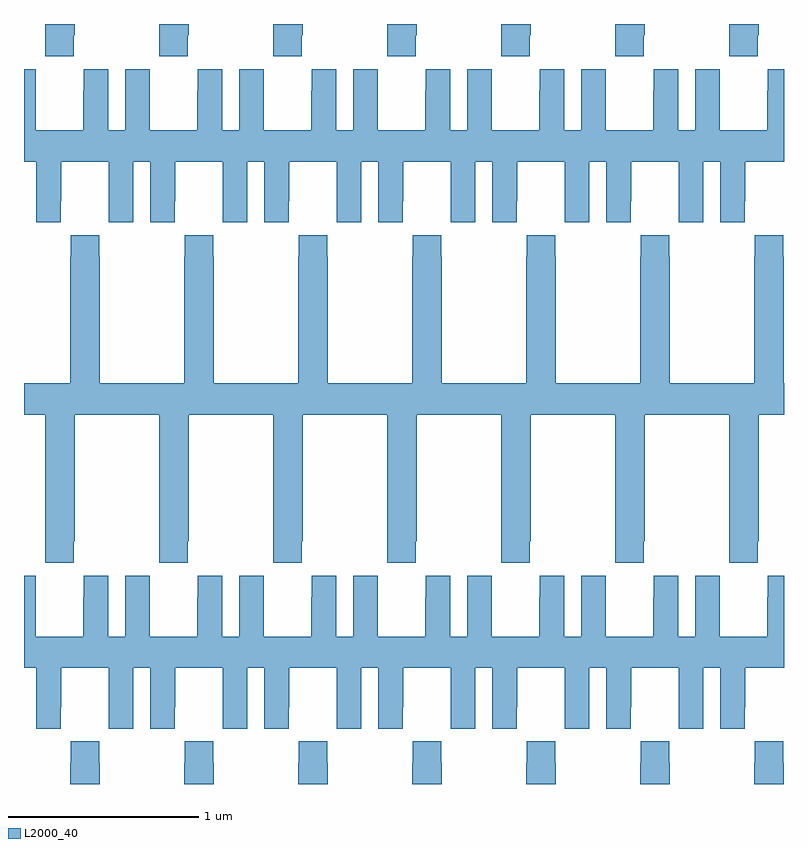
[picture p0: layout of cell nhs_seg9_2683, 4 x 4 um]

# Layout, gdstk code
import gdstk
lib = gdstk.Library(unit=1e-6, precision=1e-09)
def P(c, l, *ps):  # polygons
    for p in ps: c.add(gdstk.Polygon(p, *l))
L2000_40 = (2000, 40)

nhs_seg9_2683 = lib.new_cell('nhs_seg9_2683')
P(nhs_seg9_2683, L2000_40, [(265.863,1174.441),(265.866,1174.441),(265.866,1174.5),(265.711,1174.5),(265.711,1174.441),(265.713,1174.441),(265.713,1174.329),(265.863,1174.329)],
  [(266.463,1174.441),(266.466,1174.441),(266.466,1174.5),(266.311,1174.5),(266.311,1174.441),(266.313,1174.441),(266.313,1174.329),(266.463,1174.329)],
  [(267.063,1174.441),(267.066,1174.441),(267.066,1174.5),(266.911,1174.5),(266.911,1174.441),(266.913,1174.441),(266.913,1174.329),(267.063,1174.329)],
  [(267.663,1174.441),(267.666,1174.441),(267.666,1174.5),(267.511,1174.5),(267.511,1174.441),(267.513,1174.441),(267.513,1174.329),(267.663,1174.329)],
  [(268.263,1174.441),(268.266,1174.441),(268.266,1174.5),(268.111,1174.5),(268.111,1174.441),(268.113,1174.441),(268.113,1174.329),(268.263,1174.329)],
  [(268.711,1174.441),(268.713,1174.441),(268.713,1174.329),(268.863,1174.329),(268.863,1174.441),(268.866,1174.441),(268.866,1174.5),(268.711,1174.5)],
  [(265.263,1174.441),(265.266,1174.441),(265.266,1174.5),(265.111,1174.5),(265.111,1174.441),(265.113,1174.441),(265.113,1174.329),(265.263,1174.329)],
  [(265.663,1174.148),(265.662,1174.148),(265.662,1174.261),(265.532,1174.261),(265.532,1173.94),(265.444,1173.94),(265.444,1174.261),(265.314,1174.261),(265.314,1174.148),(265.313,1174.148),(265.313,1173.94),(265.063,1173.94),(265.063,1174.148),(265.062,1174.148),(265.062,1174.261),(265,1174.261),(265,1173.776),(265.064,1173.776),(265.064,1173.456),(265.194,1173.456),(265.194,1173.568),(265.195,1173.568),(265.195,1173.776),(265.445,1173.776),(265.445,1173.568),(265.446,1173.568),(265.446,1173.456),(265.576,1173.456),(265.576,1173.776),(265.664,1173.776),(265.664,1173.456),(265.794,1173.456),(265.794,1173.568),(265.795,1173.568),(265.795,1173.776),(266.045,1173.776),(266.045,1173.568),(266.046,1173.568),(266.046,1173.456),(266.176,1173.456),(266.176,1173.776),(266.264,1173.776),(266.264,1173.456),(266.394,1173.456),(266.394,1173.568),(266.395,1173.568),(266.395,1173.776),(266.645,1173.776),(266.645,1173.568),(266.646,1173.568),(266.646,1173.456),(266.776,1173.456),(266.776,1173.776),(266.864,1173.776),(266.864,1173.456),(266.994,1173.456),(266.994,1173.568),(266.995,1173.568),(266.995,1173.776),(267.245,1173.776),(267.245,1173.568),(267.246,1173.568),(267.246,1173.456),(267.376,1173.456),(267.376,1173.776),(267.464,1173.776),(267.464,1173.456),(267.594,1173.456),(267.594,1173.568),(267.595,1173.568),(267.595,1173.776),(267.845,1173.776),(267.845,1173.568),(267.846,1173.568),(267.846,1173.456),(267.976,1173.456),(267.976,1173.776),(268.064,1173.776),(268.064,1173.456),(268.194,1173.456),(268.194,1173.568),(268.195,1173.568),(268.195,1173.776),(268.445,1173.776),(268.445,1173.568),(268.446,1173.568),(268.446,1173.456),(268.576,1173.456),(268.576,1173.776),(268.664,1173.776),(268.664,1173.456),(268.794,1173.456),(268.794,1173.568),(268.795,1173.568),(268.795,1173.776),(269,1173.776),(269,1174.261),(268.914,1174.261),(268.914,1174.148),(268.913,1174.148),(268.913,1173.94),(268.663,1173.94),(268.663,1174.148),(268.662,1174.148),(268.662,1174.261),(268.532,1174.261),(268.532,1173.94),(268.444,1173.94),(268.444,1174.261),(268.314,1174.261),(268.314,1174.148),(268.313,1174.148),(268.313,1173.94),(268.063,1173.94),(268.063,1174.148),(268.062,1174.148),(268.062,1174.261),(267.932,1174.261),(267.932,1173.94),(267.844,1173.94),(267.844,1174.261),(267.714,1174.261),(267.714,1174.148),(267.713,1174.148),(267.713,1173.94),(267.463,1173.94),(267.463,1174.148),(267.462,1174.148),(267.462,1174.261),(267.332,1174.261),(267.332,1173.94),(267.244,1173.94),(267.244,1174.261),(267.114,1174.261),(267.114,1174.148),(267.113,1174.148),(267.113,1173.94),(266.863,1173.94),(266.863,1174.148),(266.862,1174.148),(266.862,1174.261),(266.732,1174.261),(266.732,1173.94),(266.644,1173.94),(266.644,1174.261),(266.514,1174.261),(266.514,1174.148),(266.513,1174.148),(266.513,1173.94),(266.263,1173.94),(266.263,1174.148),(266.262,1174.148),(266.262,1174.261),(266.132,1174.261),(266.132,1173.94),(266.044,1173.94),(266.044,1174.261),(265.914,1174.261),(265.914,1174.148),(265.913,1174.148),(265.913,1173.94),(265.663,1173.94)],
  [(265.845,1173.275),(265.843,1173.275),(265.843,1172.608),(265.398,1172.608),(265.398,1173.275),(265.395,1173.275),(265.395,1173.388),(265.245,1173.388),(265.245,1173.275),(265.243,1173.275),(265.243,1172.608),(265,1172.608),(265,1172.444),(265.111,1172.444),(265.111,1171.777),(265.113,1171.777),(265.113,1171.665),(265.263,1171.665),(265.263,1171.777),(265.266,1171.777),(265.266,1172.444),(265.711,1172.444),(265.711,1171.777),(265.713,1171.777),(265.713,1171.665),(265.863,1171.665),(265.863,1171.777),(265.866,1171.777),(265.866,1172.444),(266.311,1172.444),(266.311,1171.777),(266.313,1171.777),(266.313,1171.665),(266.463,1171.665),(266.463,1171.777),(266.466,1171.777),(266.466,1172.444),(266.911,1172.444),(266.911,1171.777),(266.913,1171.777),(266.913,1171.665),(267.063,1171.665),(267.063,1171.777),(267.066,1171.777),(267.066,1172.444),(267.511,1172.444),(267.511,1171.777),(267.513,1171.777),(267.513,1171.665),(267.663,1171.665),(267.663,1171.777),(267.666,1171.777),(267.666,1172.444),(268.111,1172.444),(268.111,1171.777),(268.113,1171.777),(268.113,1171.665),(268.263,1171.665),(268.263,1171.777),(268.266,1171.777),(268.266,1172.444),(268.711,1172.444),(268.711,1171.777),(268.713,1171.777),(268.713,1171.665),(268.863,1171.665),(268.863,1171.777),(268.866,1171.777),(268.866,1172.444),(269,1172.444),(269,1172.608),(268.998,1172.608),(268.998,1173.275),(268.995,1173.275),(268.995,1173.388),(268.845,1173.388),(268.845,1173.275),(268.843,1173.275),(268.843,1172.608),(268.398,1172.608),(268.398,1173.275),(268.395,1173.275),(268.395,1173.388),(268.245,1173.388),(268.245,1173.275),(268.243,1173.275),(268.243,1172.608),(267.798,1172.608),(267.798,1173.275),(267.795,1173.275),(267.795,1173.388),(267.645,1173.388),(267.645,1173.275),(267.643,1173.275),(267.643,1172.608),(267.198,1172.608),(267.198,1173.275),(267.195,1173.275),(267.195,1173.388),(267.045,1173.388),(267.045,1173.275),(267.043,1173.275),(267.043,1172.608),(266.598,1172.608),(266.598,1173.275),(266.595,1173.275),(266.595,1173.388),(266.445,1173.388),(266.445,1173.275),(266.443,1173.275),(266.443,1172.608),(265.998,1172.608),(265.998,1173.275),(265.995,1173.275),(265.995,1173.388),(265.845,1173.388)],
  [(267.463,1171.484),(267.462,1171.484),(267.462,1171.597),(267.332,1171.597),(267.332,1171.276),(267.244,1171.276),(267.244,1171.597),(267.114,1171.597),(267.114,1171.484),(267.113,1171.484),(267.113,1171.276),(266.863,1171.276),(266.863,1171.484),(266.862,1171.484),(266.862,1171.597),(266.732,1171.597),(266.732,1171.276),(266.644,1171.276),(266.644,1171.597),(266.514,1171.597),(266.514,1171.484),(266.513,1171.484),(266.513,1171.276),(266.263,1171.276),(266.263,1171.484),(266.262,1171.484),(266.262,1171.597),(266.132,1171.597),(266.132,1171.276),(266.044,1171.276),(266.044,1171.597),(265.914,1171.597),(265.914,1171.484),(265.913,1171.484),(265.913,1171.276),(265.663,1171.276),(265.663,1171.484),(265.662,1171.484),(265.662,1171.597),(265.532,1171.597),(265.532,1171.276),(265.444,1171.276),(265.444,1171.597),(265.314,1171.597),(265.314,1171.484),(265.313,1171.484),(265.313,1171.276),(265.063,1171.276),(265.063,1171.484),(265.062,1171.484),(265.062,1171.597),(265,1171.597),(265,1171.112),(265.064,1171.112),(265.064,1170.792),(265.194,1170.792),(265.194,1170.904),(265.195,1170.904),(265.195,1171.112),(265.445,1171.112),(265.445,1170.904),(265.446,1170.904),(265.446,1170.792),(265.576,1170.792),(265.576,1171.112),(265.664,1171.112),(265.664,1170.792),(265.794,1170.792),(265.794,1170.904),(265.795,1170.904),(265.795,1171.112),(266.045,1171.112),(266.045,1170.904),(266.046,1170.904),(266.046,1170.792),(266.176,1170.792),(266.176,1171.112),(266.264,1171.112),(266.264,1170.792),(266.394,1170.792),(266.394,1170.904),(266.395,1170.904),(266.395,1171.112),(266.645,1171.112),(266.645,1170.904),(266.646,1170.904),(266.646,1170.792),(266.776,1170.792),(266.776,1171.112),(266.864,1171.112),(266.864,1170.792),(266.994,1170.792),(266.994,1170.904),(266.995,1170.904),(266.995,1171.112),(267.245,1171.112),(267.245,1170.904),(267.246,1170.904),(267.246,1170.792),(267.376,1170.792),(267.376,1171.112),(267.464,1171.112),(267.464,1170.792),(267.594,1170.792),(267.594,1170.904),(267.595,1170.904),(267.595,1171.112),(267.845,1171.112),(267.845,1170.904),(267.846,1170.904),(267.846,1170.792),(267.976,1170.792),(267.976,1171.112),(268.064,1171.112),(268.064,1170.792),(268.194,1170.792),(268.194,1170.904),(268.195,1170.904),(268.195,1171.112),(268.445,1171.112),(268.445,1170.904),(268.446,1170.904),(268.446,1170.792),(268.576,1170.792),(268.576,1171.112),(268.664,1171.112),(268.664,1170.792),(268.794,1170.792),(268.794,1170.904),(268.795,1170.904),(268.795,1171.112),(269,1171.112),(269,1171.597),(268.914,1171.597),(268.914,1171.484),(268.913,1171.484),(268.913,1171.276),(268.663,1171.276),(268.663,1171.484),(268.662,1171.484),(268.662,1171.597),(268.532,1171.597),(268.532,1171.276),(268.444,1171.276),(268.444,1171.597),(268.314,1171.597),(268.314,1171.484),(268.313,1171.484),(268.313,1171.276),(268.063,1171.276),(268.063,1171.484),(268.062,1171.484),(268.062,1171.597),(267.932,1171.597),(267.932,1171.276),(267.844,1171.276),(267.844,1171.597),(267.714,1171.597),(267.714,1171.484),(267.713,1171.484),(267.713,1171.276),(267.463,1171.276)],
  [(268.398,1170.611),(268.395,1170.611),(268.395,1170.724),(268.245,1170.724),(268.245,1170.611),(268.243,1170.611),(268.243,1170.5),(268.398,1170.5)],
  [(265.398,1170.611),(265.395,1170.611),(265.395,1170.724),(265.245,1170.724),(265.245,1170.611),(265.243,1170.611),(265.243,1170.5),(265.398,1170.5)],
  [(265.998,1170.611),(265.995,1170.611),(265.995,1170.724),(265.845,1170.724),(265.845,1170.611),(265.843,1170.611),(265.843,1170.5),(265.998,1170.5)],
  [(266.598,1170.611),(266.595,1170.611),(266.595,1170.724),(266.445,1170.724),(266.445,1170.611),(266.443,1170.611),(266.443,1170.5),(266.598,1170.5)],
  [(267.198,1170.611),(267.195,1170.611),(267.195,1170.724),(267.045,1170.724),(267.045,1170.611),(267.043,1170.611),(267.043,1170.5),(267.198,1170.5)],
  [(267.798,1170.611),(267.795,1170.611),(267.795,1170.724),(267.645,1170.724),(267.645,1170.611),(267.643,1170.611),(267.643,1170.5),(267.798,1170.5)],
  [(268.998,1170.611),(268.995,1170.611),(268.995,1170.724),(268.845,1170.724),(268.845,1170.611),(268.843,1170.611),(268.843,1170.5),(268.998,1170.5)])

lib.write_gds('nhs_seg9_2683.gds')
